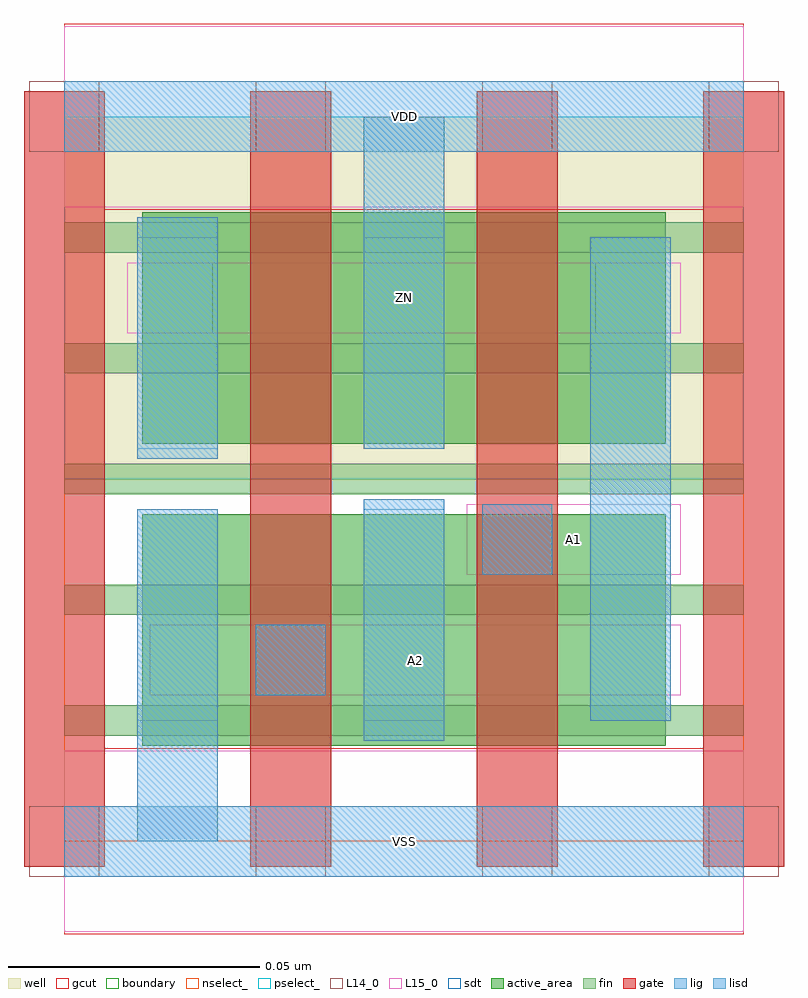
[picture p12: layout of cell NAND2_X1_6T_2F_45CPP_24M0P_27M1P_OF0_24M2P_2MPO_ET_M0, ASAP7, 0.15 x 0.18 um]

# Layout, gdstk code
import gdstk
lib = gdstk.Library(unit=1e-6, precision=2.5e-10)
def R(c, l, rs):  # rectangles x0, y0, x1, y1
    for r in rs: c.add(gdstk.rectangle(r[:2], r[2:], *l))
def A(c, l, x, y, w, h, nx, ny, dx, dy):  # array of equal rectangles
    R(c, l, [(x+i*dx, y+j*dy, x+i*dx+w, y+j*dy+h) for i in range(nx) for j in range(ny)])
well = (1, 0)
fin = (2, 0)
gate = (7, 0)
gcut = (10, 0)
active_area = (11, 0)
nselect_ = (12, 0)
pselect_ = (13, 0)
L14_0 = (14, 0)
L15_0 = (15, 0)
lig = (16, 0)
lisd = (17, 0)
sdt = (88, 0)
boundary = (100, 0)

nand2_x1_6t_2f_45cpp_24m = lib.new_cell('NAND2_X1_6T_2F_45CPP_24M0P_27M1P_OF0_24M2P_2MPO_ET_M0')
R(nand2_x1_6t_2f_45cpp_24m, well, [(0,0.072,0.135,0.144)])
A(nand2_x1_6t_2f_45cpp_24m, fin, 0, 0.021, 0.135, 0.006, 1, 5, 0, 0.024)
A(nand2_x1_6t_2f_45cpp_24m, gate, -0.008, -0.005, 0.016, 0.154, 4, 1, 0.045, 0)
R(nand2_x1_6t_2f_45cpp_24m, gcut, [(0,-0.0185,0.135,0.0185), (-0.008,-0.005,0.008,0.149), (0.127,-0.005,0.143,0.149), (0,0.1255,0.135,0.1625)])
R(nand2_x1_6t_2f_45cpp_24m, active_area, [(0.0155,0.019,0.0745,0.065), (0.0605,0.019,0.1195,0.065), (0.0155,0.079,0.0745,0.125), (0.0605,0.079,0.1195,0.125)])
R(nand2_x1_6t_2f_45cpp_24m, nselect_, [(0,0,0.135,0.072)])
R(nand2_x1_6t_2f_45cpp_24m, pselect_, [(0,0.072,0.135,0.144)])
A(nand2_x1_6t_2f_45cpp_24m, L14_0, -0.007, -0.007, 0.014, 0.014, 4, 2, 0.045, 0.144)
R(nand2_x1_6t_2f_45cpp_24m, L14_0, [(0.038,0.029,0.052,0.043), (0.083,0.053,0.097,0.067), (0.0155,0.101,0.0295,0.115), (0.1055,0.101,0.1195,0.115)])
R(nand2_x1_6t_2f_45cpp_24m, L15_0, [(0,-0.018,0.135,0.018), (0.017,0.029,0.1225,0.043), (0.08,0.053,0.1225,0.067), (0.0125,0.101,0.1225,0.115), (0,0.126,0.135,0.162)])
R(nand2_x1_6t_2f_45cpp_24m, lig, [(0,-0.007,0.135,0.007), (0.038,0.029,0.052,0.043), (0.083,0.053,0.097,0.067), (0,0.137,0.135,0.151)])
R(nand2_x1_6t_2f_45cpp_24m, lisd, [(0.0145,0,0.0305,0.066), (0.0595,0.02,0.0755,0.068), (0.1045,0.024,0.1205,0.12), (0.0145,0.076,0.0305,0.124), (0.0595,0.078,0.0755,0.144)])
R(nand2_x1_6t_2f_45cpp_24m, sdt, [(0.0145,0.024,0.0305,0.066), (0.0595,0.024,0.0755,0.066), (0.1045,0.024,0.1205,0.12), (0.0145,0.078,0.0305,0.12), (0.0595,0.078,0.0755,0.12)])
R(nand2_x1_6t_2f_45cpp_24m, boundary, [(0,0,0.135,0.144)])
nand2_x1_6t_2f_45cpp_24m.add(gdstk.Label('A2', (0.0698,0.036), layer=15, texttype=251))
nand2_x1_6t_2f_45cpp_24m.add(gdstk.Label('ZN', (0.0675,0.108), layer=15, texttype=251))
nand2_x1_6t_2f_45cpp_24m.add(gdstk.Label('A1', (0.1013,0.06), layer=15, texttype=251))
nand2_x1_6t_2f_45cpp_24m.add(gdstk.Label('VDD', (0.0675,0.144), layer=15, texttype=251))
nand2_x1_6t_2f_45cpp_24m.add(gdstk.Label('VSS', (0.0675,0), layer=15, texttype=251))
nand2_x1_6t_2f_45cpp_24m.add(gdstk.Label('VDD', (0.0675,0.144), layer=1, texttype=251))
nand2_x1_6t_2f_45cpp_24m.add(gdstk.Label('VSS', (0.0675,0), layer=3, texttype=251))

lib.write_gds('NAND2_X1_6T_2F_45CPP_24M0P_27M1P_OF0_24M2P_2MPO_ET_M0.gds')
